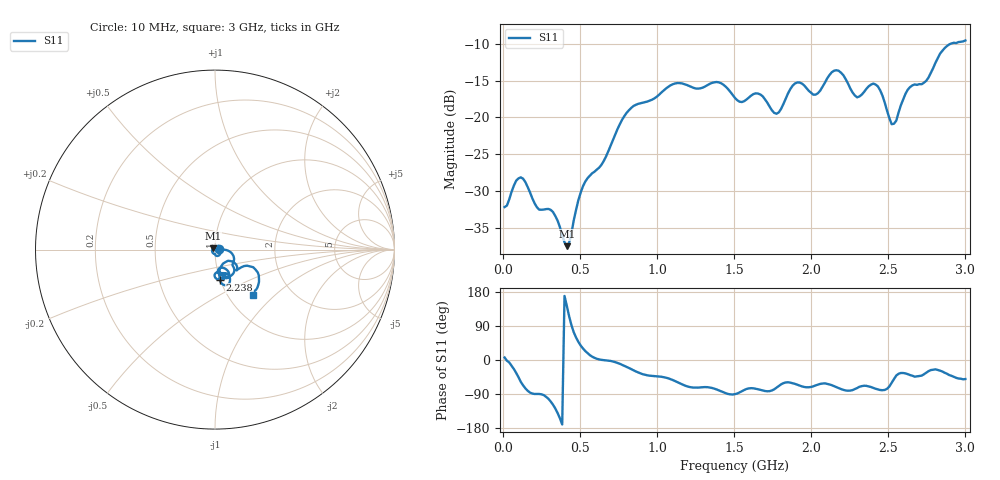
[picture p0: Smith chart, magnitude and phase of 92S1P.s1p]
!File created by NanoVNA
# Hz S RI R 50
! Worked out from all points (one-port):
!   201 points, 10 MHz to 3 GHz, reference 50 ohm
!   lowest |S11| = -37.4 dB at 413.6 MHz (marker M1), VSWR 1.03, Z = 48.9 + j0.791 ohm
!   |S11| at or under -10 dB: start of sweep to 2.908 GHz
!   S11 on the Smith chart (normalised r, x): 10 MHz: 1.05, +0.01; 2.238 GHz: 1.00, -0.34; 3 GHz: 1.30, -0.74
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1e7  0.0246 0.00282
1.1465e8  0.0212 -0.0331
2.193e8  0.000117 -0.0247
3.2395e8  -0.0107 -0.0203
3.8375e8  -0.0158 -0.00277
4.1365e8  -0.0108 0.00809
5.183e8  0.0294 0.0174
6.5285e8  0.0506 -0.000221
7.575e8  0.0886 -0.0156
8.472e8  0.1063 -0.0549
1.13125e9  0.0894 -0.1456
1.40035e9  0.0294 -0.1702
1.505e9  1.87e-05 -0.1355
1.6545e9  0.0322 -0.1415
1.7741e9  0.0307 -0.1014
1.87875e9  0.079 -0.1436
2.02825e9  0.0558 -0.1314
2.1628e9  0.0662 -0.1979
2.23755e9  0.0267 -0.1682
2.2525e9  0.0251 -0.1555
2.29735e9  0.0376 -0.1315
2.4319e9  0.0351 -0.1584
2.5216e9  0.0452 -0.0778
2.62625e9  0.1226 -0.0936
2.74585e9  0.1471 -0.0982
2.80565e9  0.2128 -0.098
2.8804e9  0.2453 -0.1799
3e9  0.2124 -0.255
